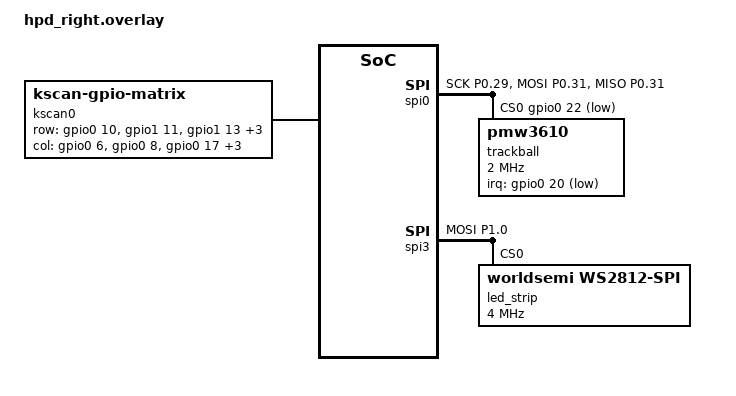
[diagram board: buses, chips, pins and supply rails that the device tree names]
#include "hpd.dtsi"
#include "split_input_common.dtsi"
#include <dt-bindings/led/led.h>

&default_transform {
	col-offset = <6>;
};

/ {
    chosen {
        zmk,kscan = &kscan0;
        zmk,underglow = &led_strip;
    };
    
    kscan0: kscan {
        compatible = "zmk,kscan-gpio-matrix";
        diode-direction = "col2row";
        wakeup-source;

	row-gpios
            = <&gpio0 10 (GPIO_ACTIVE_HIGH | GPIO_PULL_DOWN)>
            , <&gpio1 11 (GPIO_ACTIVE_HIGH | GPIO_PULL_DOWN)>
            , <&gpio1 13  (GPIO_ACTIVE_HIGH | GPIO_PULL_DOWN)>
            , <&gpio1 15 (GPIO_ACTIVE_HIGH | GPIO_PULL_DOWN)>
            , <&gpio0 2 (GPIO_ACTIVE_HIGH | GPIO_PULL_DOWN)>
            , <&gpio0 24 (GPIO_ACTIVE_HIGH | GPIO_PULL_DOWN)>
        ;
	col-gpios
            =  <&gpio0 6  GPIO_ACTIVE_HIGH>
            ,  <&gpio0 8  GPIO_ACTIVE_HIGH>
            , <&gpio0 17  GPIO_ACTIVE_HIGH>
            , <&gpio1 4  GPIO_ACTIVE_HIGH>
            , <&gpio1 6  GPIO_ACTIVE_HIGH>
            , <&gpio0 9  GPIO_ACTIVE_HIGH>
		;
	};
};

&pinctrl {
    spi0_default: spi0_default {
        group1 {
            psels = <NRF_PSEL(SPIM_SCK, 0, 29)>,
                <NRF_PSEL(SPIM_MOSI, 0, 31)>,
                <NRF_PSEL(SPIM_MISO, 0, 31)>;
        };
    };

    spi0_sleep: spi0_sleep {
        group1 {
            psels = <NRF_PSEL(SPIM_SCK, 0, 29)>,
                <NRF_PSEL(SPIM_MOSI, 0, 31)>,
                <NRF_PSEL(SPIM_MISO, 0, 31)>;
            low-power-enable;
        };
    };
};

&spi0 {
    status = "okay";
    compatible = "nordic,nrf-spim";
    pinctrl-0 = <&spi0_default>;
    pinctrl-1 = <&spi0_sleep>;
    pinctrl-names = "default", "sleep";
    cs-gpios = <&gpio0 22 GPIO_ACTIVE_LOW>;

    trackball: trackball@0 {
        status = "okay";
        compatible = "zmk,pmw3610";
        reg = <0>;
        spi-max-frequency = <2000000>;
        irq-gpios = <&gpio0 20 (GPIO_ACTIVE_LOW | GPIO_PULL_UP)>;
		snipe-layers = <6>;
        scroll-layers = <5>;

        /*   optional features   */
        // automouse-layer = <4>;

        /*   optional: ball action on specific layers  */
        // arrows {
        //     layers = <3>;
        //     bindings =
        //         <&kp RIGHT_ARROW>,
        //         <&kp LEFT_ARROW>,
        //         <&kp UP_ARROW>,
        //         <&kp DOWN_ARROW>;
        //
        //     /*   optional: ball action configuration  */
        //     tick = <10>;
        //     // wait-ms = <5>;
        //     // tap-ms = <5>;
        // };
    };
};

/ {
  trackball_listener {
    compatible = "zmk,input-listener";
    device = <&trackball>;
  };
};

//RGB bus
&pinctrl {
    spi3_default: spi3_default {
        group1 {
            psels = <NRF_PSEL(SPIM_MOSI, 1, 0)>;
        };
    };

    spi3_sleep: spi3_sleep {
        group1 {
            psels = <NRF_PSEL(SPIM_MOSI, 1, 0)>;
            low-power-enable;
        };
    };
};

&spi3 {
    compatible = "nordic,nrf-spim";
    status = "okay";

    pinctrl-0 = <&spi3_default>;
    pinctrl-1 = <&spi3_sleep>;
    pinctrl-names = "default", "sleep";

    led_strip: ws2812@0 {
        compatible = "worldsemi,ws2812-spi";

        /* SPI */
        reg = <0>; /* ignored, but necessary for SPI bindings */
        spi-max-frequency = <4000000>;

        /* WS2812 */
        chain-length = <30>; /* number of LEDs */
        spi-one-frame = <0x70>;
        spi-zero-frame = <0x40>;
        color-mapping = <LED_COLOR_ID_GREEN LED_COLOR_ID_RED LED_COLOR_ID_BLUE>;
    };
};
